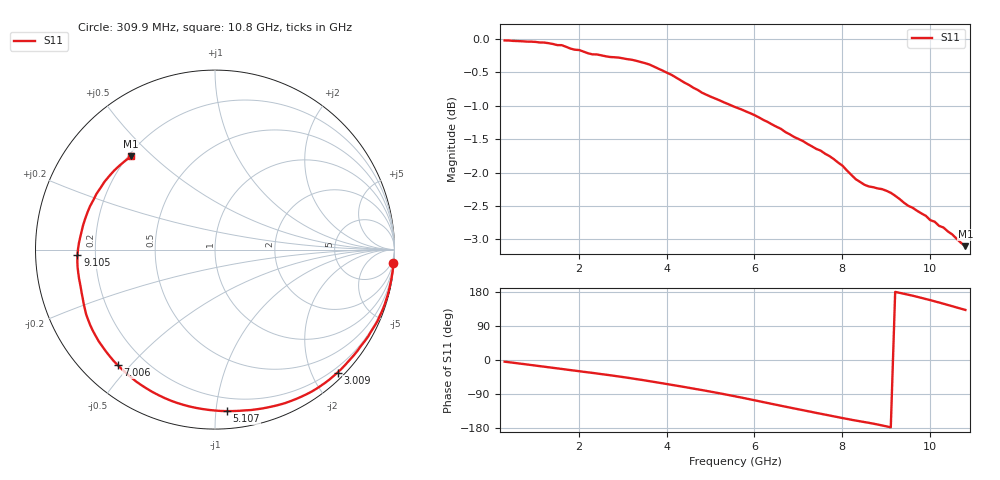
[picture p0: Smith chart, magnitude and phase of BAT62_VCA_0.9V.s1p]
! Infineon Technologies  Discrete & RF Semiconductors
! BAT62
! VCA = 0.9 V
! One-Port S-Parameters
# Hz  S  MA  R  50
!f  S11
!Hz  Mag  Ang
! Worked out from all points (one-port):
!   106 points, 309.9 MHz to 10.8 GHz, reference 50 ohm
!   lowest |S11| = -3.1 dB at 10.8 GHz (marker M1), VSWR 5.66, Z = 10.5 + j21.4 ohm
!   |S11| at or under -10 dB: nowhere
!   S11 on the Smith chart (normalised r, x): 309.9 MHz: 1, -26; 3.009 GHz: 0.11, -2.40; 5.107 GHz: 0.11, -1.07; 7.006 GHz: 0.10, -0.46; 9.105 GHz: 0.13, -0.02; 10.8 GHz: 0.21, +0.43
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3.0985e8  0.9974 -4.4
1.0095e9  0.9949 -14.7
1.30935e9  0.9927 -19.2
1.70915e9  0.9866 -25.2
2.4088e9  0.9736 -35.5
3.0085e9  0.9671 -45.1
3.6082e9  0.9569 -55.9
4.008e9  0.9434 -63.5
4.30785e9  0.9317 -69.3
4.70765e9  0.9159 -77.4
5.10745e9  0.9024 -85.8
5.6072e9  0.888 -97.0
5.90705e9  0.8798 -103.9
6.30685e9  0.8665 -113.6
6.6067e9  0.8563 -120.8
6.90655e9  0.8445 -127.9
7.0065e9  0.8416 -130.2
7.4063e9  0.8274 -139.5
7.6062e9  0.8206 -144.1
8.006e9  0.8038 -153.2
8.2059e9  0.7912 -157.6
8.70565e9  0.7745 -168.0
9.10545e9  0.7671 -177.6
9.50525e9  0.75 172.2
9.8051e9  0.7402 163.9
1.010495e10  0.7298 154.8
1.050475e10  0.714 142.0
1.08046e10  0.6997 132.1
